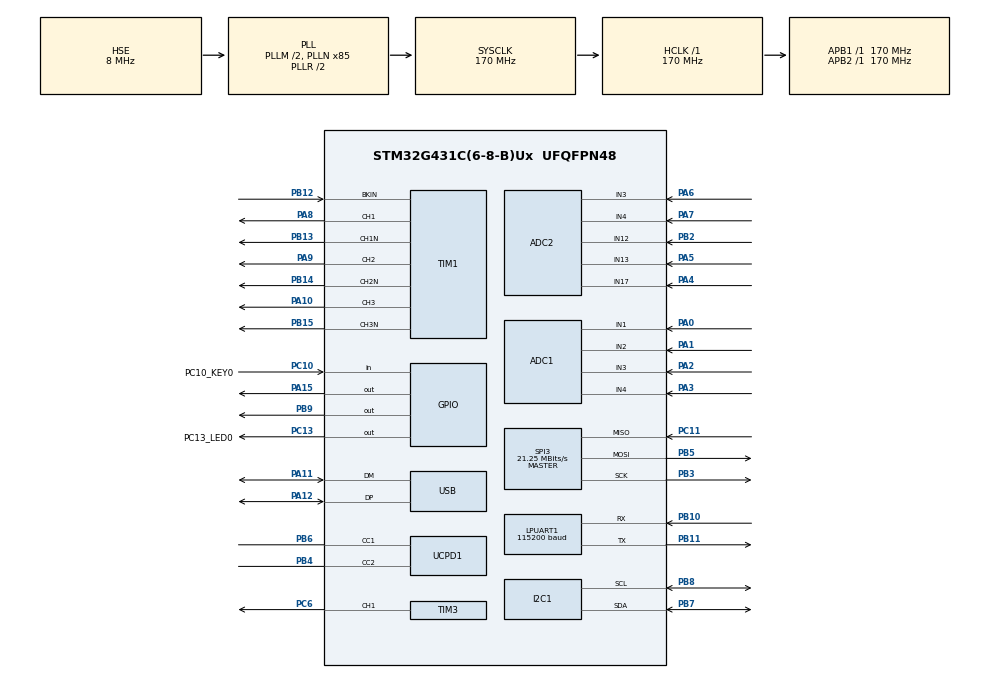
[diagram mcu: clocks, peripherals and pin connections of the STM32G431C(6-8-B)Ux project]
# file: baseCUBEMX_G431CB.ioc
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ADC1.Channel-0\#ChannelRegularConversion=ADC_CHANNEL_1
ADC1.NbrOfConversionFlag=1
ADC1.OffsetNumber-0\#ChannelRegularConversion=ADC_OFFSET_NONE
ADC1.Rank-0\#ChannelRegularConversion=1
ADC1.SamplingTime-0\#ChannelRegularConversion=ADC_SAMPLETIME_2CYCLES_5
ADC1.SingleDiff-0\#ChannelRegularConversion=ADC_DIFFERENTIAL_ENDED
ADC1.master=1
ADC2.Channel-0\#ChannelRegularConversion=ADC_CHANNEL_17
ADC2.NbrOfConversionFlag=1
ADC2.OffsetNumber-0\#ChannelRegularConversion=ADC_OFFSET_NONE
ADC2.Rank-0\#ChannelRegularConversion=1
ADC2.SamplingTime-0\#ChannelRegularConversion=ADC_SAMPLETIME_2CYCLES_5
I2C1.Timing=0x30A0A7FB
LPUART1.BaudRate=115200
Mcu.Family=STM32G4
Mcu.Name=STM32G431C(6-8-B)Ux
Mcu.Package=UFQFPN48
NVIC.PriorityGroup=NVIC_PRIORITYGROUP_4
NVIC.USB_LP_IRQn=true\:0\:0\:false\:false\:true\:false\:true\:true
PA0.Signal=SharedAnalog_PA0
PA1.Signal=SharedAnalog_PA1
PA10.Signal=S_TIM1_CH3
PA11.Mode=Device
PA11.Signal=USB_DM
PA12.Mode=Device
PA12.Signal=USB_DP
PA13.Mode=Serial_Wire
PA13.Signal=SYS_JTMS-SWDIO
PA14.Mode=Serial_Wire
PA14.Signal=SYS_JTCK-SWCLK
PA15.Signal=GPIO_Output
PA2.Mode=IN3-Differential
PA2.Signal=ADC1_IN3
PA3.Mode=IN3-Differential
PA3.Signal=ADC1_IN4
PA4.Mode=IN17-Single-Ended
PA4.Signal=ADC2_IN17
PA5.Mode=IN12-Differential
PA5.Signal=ADC2_IN13
PA6.Mode=IN3-Differential
PA6.Signal=ADC2_IN3
PA7.Mode=IN3-Differential
PA7.Signal=ADC2_IN4
PA8.Signal=S_TIM1_CH1
PA9.Signal=S_TIM1_CH2
PB0.Signal=ADC1_IN15
PB1.Signal=ADC1_IN12
PB10.Mode=Asynchronous
PB10.Signal=LPUART1_RX
PB11.Mode=Asynchronous
PB11.Signal=LPUART1_TX
PB12.Mode=Activate-Break-Input
PB12.Signal=TIM1_BKIN
PB13.Mode=PWM Generation1 CH1 CH1N
PB13.Signal=TIM1_CH1N
PB14.Mode=PWM Generation2 CH2 CH2N
PB14.Signal=TIM1_CH2N
PB15.Mode=PWM Generation3 CH3 CH3N
PB15.Signal=TIM1_CH3N
PB2.Mode=IN12-Differential
PB2.Signal=ADC2_IN12
PB3.Mode=Full_Duplex_Master
PB3.Signal=SPI3_SCK
PB4.Mode=Dual_Role_AllSignals
PB4.Signal=UCPD1_CC2
PB5.Mode=Full_Duplex_Master
PB5.Signal=SPI3_MOSI
PB6.Mode=Dual_Role_AllSignals
PB6.Signal=UCPD1_CC1
PB7.Mode=I2C
PB7.Signal=I2C1_SDA
PB8-BOOT0.Mode=I2C
PB8-BOOT0.Signal=I2C1_SCL
PB9.Signal=GPIO_Output
PC10.GPIO_Label=PC10_KEY0
PC10.GPIO_PuPd=GPIO_PULLUP
PC10.Signal=GPIO_Input
PC11.Mode=Full_Duplex_Master
PC11.Signal=SPI3_MISO
PC13.GPIO_Label=PC13_LED0
PC13.GPIO_PuPd=GPIO_NOPULL
PC13.Signal=GPIO_Output
PC14-OSC32_IN.Mode=LSE-External-Oscillator
PC14-OSC32_IN.Signal=RCC_OSC32_IN
PC15-OSC32_OUT.Mode=LSE-External-Oscillator
PC15-OSC32_OUT.Signal=RCC_OSC32_OUT
PC4.Signal=ADC2_IN5
PC6.Signal=S_TIM3_CH1
PF0-OSC_IN.Mode=HSE-External-Oscillator
PF0-OSC_IN.Signal=RCC_OSC_IN
PF1-OSC_OUT.Mode=HSE-External-Oscillator
PF1-OSC_OUT.Signal=RCC_OSC_OUT
ProjectManager.HeapSize=0x200
ProjectManager.StackSize=0x400
ProjectManager.TargetToolchain=STM32CubeIDE
RCC.ADC12Freq_Value=170000000
RCC.AHBFreq_Value=170000000
RCC.APB1Freq_Value=170000000
RCC.APB1TimFreq_Value=170000000
RCC.APB2Freq_Value=170000000
RCC.APB2TimFreq_Value=170000000
RCC.CK48CLockSelection=RCC_USBCLKSOURCE_HSI48
RCC.CortexFreq_Value=170000000
RCC.EXTERNAL_CLOCK_VALUE=12288000
RCC.EnbaleCSS=true
RCC.HCLKFreq_Value=170000000
RCC.HSE_VALUE=8000000
RCC.HSI48_VALUE=48000000
RCC.HSI_VALUE=16000000
RCC.PLLM=RCC_PLLM_DIV2
RCC.PLLN=85
RCC.PLLSourceVirtual=RCC_PLLSOURCE_HSE
RCC.SYSCLKFreq_VALUE=170000000
RCC.SYSCLKSource=RCC_SYSCLKSOURCE_PLLCLK
RCC.USBFreq_Value=48000000
RCC.VCOOutputFreq_Value=340000000
SH.S_TIM1_CH1.0=TIM1_CH1,PWM Generation1 CH1 CH1N
SH.S_TIM1_CH2.0=TIM1_CH2,PWM Generation2 CH2 CH2N
SH.S_TIM1_CH3.0=TIM1_CH3,PWM Generation3 CH3 CH3N
SH.S_TIM3_CH1.0=TIM3_CH1,PWM Generation1 CH1
SH.SharedAnalog_PA0.0=ADC2_IN1
SH.SharedAnalog_PA0.1=ADC1_IN1,IN1-Differential
SH.SharedAnalog_PA1.0=ADC2_IN2
SH.SharedAnalog_PA1.1=ADC1_IN2,IN1-Differential
SPI3.BaudRatePrescaler=SPI_BAUDRATEPRESCALER_8
SPI3.CalculateBaudRate=21.25 MBits/s
SPI3.Direction=SPI_DIRECTION_2LINES
SPI3.Mode=SPI_MODE_MASTER
SPI3.VirtualType=VM_MASTER
TIM1.Channel-PWM\ Generation1\ CH1\ CH1N=TIM_CHANNEL_1
TIM1.Channel-PWM\ Generation2\ CH2\ CH2N=TIM_CHANNEL_2
TIM1.Channel-PWM\ Generation3\ CH3\ CH3N=TIM_CHANNEL_3
TIM3.Channel-PWM\ Generation1\ CH1=TIM_CHANNEL_1
USB_DEVICE.CLASS_NAME_FS=CDC
USB_DEVICE.VirtualMode=Cdc
USB_DEVICE.VirtualModeFS=Cdc_FS
VP_RTC_VS_RTC_Activate.Mode=RTC_Enabled
VP_SYS_VS_DBSignals.Mode=DisableDeadBatterySignals
VP_USB_DEVICE_VS_USB_DEVICE_CDC_FS.Mode=CDC_FS
board=custom

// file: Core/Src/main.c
/* USER CODE BEGIN Header */
/**
  ******************************************************************************
  * @file           : main.c
  * @brief          : Main program body
  ******************************************************************************
  * @attention
  *
  * Copyright (c) 2023 STMicroelectronics.
  * All rights reserved.
  *
  * This software is licensed under terms that can be found in the LICENSE file
  * in the root directory of this software component.
  * If no LICENSE file comes with this software, it is provided AS-IS.
  *
  ******************************************************************************
  */
/* USER CODE END Header */
#include "main.h"
#include "usb_device.h"

/* USER CODE BEGIN PTD */
#define		DEF_MAX_MSG_LENGTH		128
/* USER CODE END PTD */

I2C_HandleTypeDef hi2c1;

RTC_HandleTypeDef hrtc;

void SystemClock_Config(void);
static void MX_GPIO_Init(void);
static void MX_I2C1_Init(void);
static void MX_UCPD1_Init(void);
static void MX_ADC1_Init(void);
static void MX_ADC2_Init(void);
static void MX_LPUART1_UART_Init(void);
static void MX_RTC_Init(void);
static void MX_SPI3_Init(void);
static void MX_TIM1_Init(void);
static void MX_TIM3_Init(void);
/* USER CODE BEGIN PFP */
static void bootinfo(void);
/* USER CODE END PFP */

int main(void)
{

  /* USER CODE BEGIN 1 */
	static uint32_t	ui32_BlinkTick = 0;
	static uint32_t	ui32_SelectBlinkTick = 500;	// Startup Tick
	static uint32_t	ui32_KeyPressTick = 0;	// KeyPress Tick
	static uint32_t	ui32_USBPrintfTick = 0;
	char HiMsg[DEF_MAX_MSG_LENGTH] = "SMT32G431CB Schwartz pill USB DEMO    \r\n";
  /* USER CODE END 1 */

  /* MCU Configuration--------------------------------------------------------*/

  /* Reset of all peripherals, Initializes the Flash interface and the Systick. */
  HAL_Init();

  /* Configure the system clock */
  SystemClock_Config();

  /* Initialize all configured peripherals */
  MX_GPIO_Init();
  MX_I2C1_Init();
  MX_UCPD1_Init();
  MX_ADC1_Init();
  MX_ADC2_Init();
  MX_LPUART1_UART_Init();
  MX_RTC_Init();
  MX_SPI3_Init();
  MX_TIM1_Init();
  MX_TIM3_Init();
  MX_USB_Device_Init();
  /* USER CODE BEGIN 2 */
  // Forca a reenumeracao do USB
  LL_GPIO_SetOutputPin(PC13_LED0_GPIO_Port, PC13_LED0_Pin);
  LL_GPIO_SetOutputPin(GPIOA, LL_GPIO_PIN_15);
  HAL_Delay(500);
  LL_GPIO_ResetOutputPin(GPIOA, LL_GPIO_PIN_15);
  LL_GPIO_ResetOutputPin(PC13_LED0_GPIO_Port, PC13_LED0_Pin);
  HAL_Delay(5000);
  //******************************
  bootinfo();
  /* USER CODE END 2 */

  /* Infinite loop */
  /* USER CODE BEGIN WHILE */
  while (1)
  {
	  uint32_t u32_ActualTick = HAL_GetTick();
	  if (u32_ActualTick-ui32_BlinkTick > ui32_SelectBlinkTick)
	  {
		  ui32_BlinkTick = u32_ActualTick;
		  LL_GPIO_TogglePin(PC13_LED0_GPIO_Port, PC13_LED0_Pin);
	  }

	  if (!LL_GPIO_IsInputPinSet(PC10_KEY0_GPIO_Port, PC10_KEY0_Pin))
	  {
		  if (u32_ActualTick - ui32_KeyPressTick > 10){
			// Valid KeyPress
			  ui32_KeyPressTick = u32_ActualTick;
			  ui32_SelectBlinkTick++;
			  if (ui32_SelectBlinkTick > 1000)
				  ui32_SelectBlinkTick = 50;
		  }
	  } else
	  {
		  ui32_KeyPressTick = u32_ActualTick;
	  }

	  if (u32_ActualTick-ui32_USBPrintfTick > 200)
	  {
		  ui32_USBPrintfTick = u32_ActualTick;
		  snprintf(HiMsg, DEF_MAX_MSG_LENGTH-1, "Actual Tick: %lu, Blink Tick: %lu\r\n",
				  u32_ActualTick, ui32_SelectBlinkTick);
	  	  CDC_Transmit_FS(HiMsg, strlen(HiMsg));
	  }

    /* USER CODE END WHILE */

  }
}

void SystemClock_Config(void)
{
  RCC_OscInitTypeDef RCC_OscInitStruct = {0};
  RCC_ClkInitTypeDef RCC_ClkInitStruct = {0};

  /** Configure the main internal regulator output voltage
  */
  HAL_PWREx_ControlVoltageScaling(PWR_REGULATOR_VOLTAGE_SCALE1_BOOST);

  /** Initializes the RCC Oscillators according to the specified parameters
  * in the RCC_OscInitTypeDef structure.
  */
  RCC_OscInitStruct.OscillatorType = RCC_OSCILLATORTYPE_HSI|RCC_OSCILLATORTYPE_HSI48
                              |RCC_OSCILLATORTYPE_LSI|RCC_OSCILLATORTYPE_HSE;
  RCC_OscInitStruct.HSEState = RCC_HSE_ON;
  RCC_OscInitStruct.HSIState = RCC_HSI_ON;
  RCC_OscInitStruct.HSICalibrationValue = RCC_HSICALIBRATION_DEFAULT;
  RCC_OscInitStruct.LSIState = RCC_LSI_ON;
  RCC_OscInitStruct.HSI48State = RCC_HSI48_ON;
  RCC_OscInitStruct.PLL.PLLState = RCC_PLL_ON;
  RCC_OscInitStruct.PLL.PLLSource = RCC_PLLSOURCE_HSE;
  RCC_OscInitStruct.PLL.PLLM = RCC_PLLM_DIV2;
  RCC_OscInitStruct.PLL.PLLN = 85;
  RCC_OscInitStruct.PLL.PLLP = RCC_PLLP_DIV2;
  RCC_OscInitStruct.PLL.PLLQ = RCC_PLLQ_DIV2;
  RCC_OscInitStruct.PLL.PLLR = RCC_PLLR_DIV2;
  if (HAL_RCC_OscConfig(&RCC_OscInitStruct) != HAL_OK)
  {
    Error_Handler();
  }

  /** Initializes the CPU, AHB and APB buses clocks
  */
  RCC_ClkInitStruct.ClockType = RCC_CLOCKTYPE_HCLK|RCC_CLOCKTYPE_SYSCLK
                              |RCC_CLOCKTYPE_PCLK1|RCC_CLOCKTYPE_PCLK2;
  RCC_ClkInitStruct.SYSCLKSource = RCC_SYSCLKSOURCE_PLLCLK;
  RCC_ClkInitStruct.AHBCLKDivider = RCC_SYSCLK_DIV1;
  RCC_ClkInitStruct.APB1CLKDivider = RCC_HCLK_DIV1;
  RCC_ClkInitStruct.APB2CLKDivider = RCC_HCLK_DIV1;

  if (HAL_RCC_ClockConfig(&RCC_ClkInitStruct, FLASH_LATENCY_4) != HAL_OK)
  {
    Error_Handler();
  }

  /** Enables the Clock Security System
  */
  HAL_RCC_EnableCSS();
}

static void MX_ADC1_Init(void)
{

  LL_ADC_InitTypeDef ADC_InitStruct = {0};
  LL_ADC_REG_InitTypeDef ADC_REG_InitStruct = {0};
  LL_ADC_CommonInitTypeDef ADC_CommonInitStruct = {0};

  LL_GPIO_InitTypeDef GPIO_InitStruct = {0};
  RCC_PeriphCLKInitTypeDef PeriphClkInit = {0};

  /** Initializes the peripherals clocks
  */
  PeriphClkInit.PeriphClockSelection = RCC_PERIPHCLK_ADC12;
  PeriphClkInit.Adc12ClockSelection = RCC_ADC12CLKSOURCE_SYSCLK;
  if (HAL_RCCEx_PeriphCLKConfig(&PeriphClkInit) != HAL_OK)
  {
    Error_Handler();
  }

  /* Peripheral clock enable */
  LL_AHB2_GRP1_EnableClock(LL_AHB2_GRP1_PERIPH_ADC12);

  LL_AHB2_GRP1_EnableClock(LL_AHB2_GRP1_PERIPH_GPIOA);
  LL_AHB2_GRP1_EnableClock(LL_AHB2_GRP1_PERIPH_GPIOB);
  /**ADC1 GPIO Configuration
  PA0   ------> ADC1_IN1
  PA1   ------> ADC1_IN2
  PA2   ------> ADC1_IN3
  PA3   ------> ADC1_IN4
  PB0   ------> ADC1_IN15
  PB1   ------> ADC1_IN12
  */
  GPIO_InitStruct.Pin = LL_GPIO_PIN_0;
  GPIO_InitStruct.Mode = LL_GPIO_MODE_ANALOG;
  GPIO_InitStruct.Pull = LL_GPIO_PULL_NO;
  LL_GPIO_Init(GPIOA, &GPIO_InitStruct);

  GPIO_InitStruct.Pin = LL_GPIO_PIN_1;
  GPIO_InitStruct.Mode = LL_GPIO_MODE_ANALOG;
  GPIO_InitStruct.Pull = LL_GPIO_PULL_NO;
  LL_GPIO_Init(GPIOA, &GPIO_InitStruct);

  GPIO_InitStruct.Pin = LL_GPIO_PIN_2;
  GPIO_InitStruct.Mode = LL_GPIO_MODE_ANALOG;
  GPIO_InitStruct.Pull = LL_GPIO_PULL_NO;
  LL_GPIO_Init(GPIOA, &GPIO_InitStruct);

  GPIO_InitStruct.Pin = LL_GPIO_PIN_3;
  GPIO_InitStruct.Mode = LL_GPIO_MODE_ANALOG;
  GPIO_InitStruct.Pull = LL_GPIO_PULL_NO;
  LL_GPIO_Init(GPIOA, &GPIO_InitStruct);

  GPIO_InitStruct.Pin = LL_GPIO_PIN_0;
  GPIO_InitStruct.Mode = LL_GPIO_MODE_ANALOG;
  GPIO_InitStruct.Pull = LL_GPIO_PULL_NO;
  LL_GPIO_Init(GPIOB, &GPIO_InitStruct);

  GPIO_InitStruct.Pin = LL_GPIO_PIN_1;
  GPIO_InitStruct.Mode = LL_GPIO_MODE_ANALOG;
  GPIO_InitStruct.Pull = LL_GPIO_PULL_NO;
  LL_GPIO_Init(GPIOB, &GPIO_InitStruct);

  /** Common config
  */
  ADC_InitStruct.Resolution = LL_ADC_RESOLUTION_12B;
  ADC_InitStruct.DataAlignment = LL_ADC_DATA_ALIGN_RIGHT;
  ADC_InitStruct.LowPowerMode = LL_ADC_LP_MODE_NONE;
  LL_ADC_Init(ADC1, &ADC_InitStruct);
  ADC_REG_InitStruct.TriggerSource = LL_ADC_REG_TRIG_SOFTWARE;
  ADC_REG_InitStruct.SequencerLength = LL_ADC_REG_SEQ_SCAN_DISABLE;
  ADC_REG_InitStruct.SequencerDiscont = LL_ADC_REG_SEQ_DISCONT_DISABLE;
  ADC_REG_InitStruct.ContinuousMode = LL_ADC_REG_CONV_SINGLE;
  ADC_REG_InitStruct.DMATransfer = LL_ADC_REG_DMA_TRANSFER_NONE;
  ADC_REG_InitStruct.Overrun = LL_ADC_REG_OVR_DATA_PRESERVED;
  LL_ADC_REG_Init(ADC1, &ADC_REG_InitStruct);
  LL_ADC_SetGainCompensation(ADC1, 0);
  LL_ADC_SetOverSamplingScope(ADC1, LL_ADC_OVS_DISABLE);
  ADC_CommonInitStruct.CommonClock = LL_ADC_CLOCK_SYNC_PCLK_DIV4;
  ADC_CommonInitStruct.Multimode = LL_ADC_MULTI_INDEPENDENT;
  LL_ADC_CommonInit(__LL_ADC_COMMON_INSTANCE(ADC1), &ADC_CommonInitStruct);

  /* Disable ADC deep power down (enabled by default after reset state) */
  LL_ADC_DisableDeepPowerDown(ADC1);
  /* Enable ADC internal voltage regulator */
  LL_ADC_EnableInternalRegulator(ADC1);
  /* Delay for ADC internal voltage regulator stabilization. */
  /* Compute number of CPU cycles to wait for, from delay in us. */
  /* Note: Variable divided by 2 to compensate partially */
  /* CPU processing cycles (depends on compilation optimization). */
  /* Note: If system core clock frequency is below 200kHz, wait time */
  /* is only a few CPU processing cycles. */
  uint32_t wait_loop_index;
  wait_loop_index = ((LL_ADC_DELAY_INTERNAL_REGUL_STAB_US * (SystemCoreClock / (100000 * 2))) / 10);
  while(wait_loop_index != 0)
  {
    wait_loop_index--;
  }

  /** Configure Regular Channel
  */
  LL_ADC_REG_SetSequencerRanks(ADC1, LL_ADC_REG_RANK_1, LL_ADC_CHANNEL_1);
  LL_ADC_SetChannelSamplingTime(ADC1, LL_ADC_CHANNEL_1, LL_ADC_SAMPLINGTIME_2CYCLES_5);
  LL_ADC_SetChannelSingleDiff(ADC1, LL_ADC_CHANNEL_1, LL_ADC_DIFFERENTIAL_ENDED);

}

static void MX_ADC2_Init(void)
{

  LL_ADC_InitTypeDef ADC_InitStruct = {0};
  LL_ADC_REG_InitTypeDef ADC_REG_InitStruct = {0};

  LL_GPIO_InitTypeDef GPIO_InitStruct = {0};
  RCC_PeriphCLKInitTypeDef PeriphClkInit = {0};

  /** Initializes the peripherals clocks
  */
  PeriphClkInit.PeriphClockSelection = RCC_PERIPHCLK_ADC12;
  PeriphClkInit.Adc12ClockSelection = RCC_ADC12CLKSOURCE_SYSCLK;
  if (HAL_RCCEx_PeriphCLKConfig(&PeriphClkInit) != HAL_OK)
  {
    Error_Handler();
  }

  /* Peripheral clock enable */
  LL_AHB2_GRP1_EnableClock(LL_AHB2_GRP1_PERIPH_ADC12);

  LL_AHB2_GRP1_EnableClock(LL_AHB2_GRP1_PERIPH_GPIOA);
  LL_AHB2_GRP1_EnableClock(LL_AHB2_GRP1_PERIPH_GPIOC);
  LL_AHB2_GRP1_EnableClock(LL_AHB2_GRP1_PERIPH_GPIOB);
  /**ADC2 GPIO Configuration
  PA0   ------> ADC2_IN1
  PA1   ------> ADC2_IN2
  PA4   ------> ADC2_IN17
  PA5   ------> ADC2_IN13
  PA6   ------> ADC2_IN3
  PA7   ------> ADC2_IN4
  PC4   ------> ADC2_IN5
  PB2   ------> ADC2_IN12
  */
  GPIO_InitStruct.Pin = LL_GPIO_PIN_0;
  GPIO_InitStruct.Mode = LL_GPIO_MODE_ANALOG;
  GPIO_InitStruct.Pull = LL_GPIO_PULL_NO;
  LL_GPIO_Init(GPIOA, &GPIO_InitStruct);

  GPIO_InitStruct.Pin = LL_GPIO_PIN_1;
  GPIO_InitStruct.Mode = LL_GPIO_MODE_ANALOG;
  GPIO_InitStruct.Pull = LL_GPIO_PULL_NO;
  LL_GPIO_Init(GPIOA, &GPIO_InitStruct);

  GPIO_InitStruct.Pin = LL_GPIO_PIN_4;
  GPIO_InitStruct.Mode = LL_GPIO_MODE_ANALOG;
  GPIO_InitStruct.Pull = LL_GPIO_PULL_NO;
  LL_GPIO_Init(GPIOA, &GPIO_InitStruct);

  GPIO_InitStruct.Pin = LL_GPIO_PIN_5;
  GPIO_InitStruct.Mode = LL_GPIO_MODE_ANALOG;
  GPIO_InitStruct.Pull = LL_GPIO_PULL_NO;
  LL_GPIO_Init(GPIOA, &GPIO_InitStruct);

  GPIO_InitStruct.Pin = LL_GPIO_PIN_6;
  GPIO_InitStruct.Mode = LL_GPIO_MODE_ANALOG;
  GPIO_InitStruct.Pull = LL_GPIO_PULL_NO;
  LL_GPIO_Init(GPIOA, &GPIO_InitStruct);

  GPIO_InitStruct.Pin = LL_GPIO_PIN_7;
  GPIO_InitStruct.Mode = LL_GPIO_MODE_ANALOG;
  GPIO_InitStruct.Pull = LL_GPIO_PULL_NO;
  LL_GPIO_Init(GPIOA, &GPIO_InitStruct);

  GPIO_InitStruct.Pin = LL_GPIO_PIN_4;
  GPIO_InitStruct.Mode = LL_GPIO_MODE_ANALOG;
  GPIO_InitStruct.Pull = LL_GPIO_PULL_NO;
  LL_GPIO_Init(GPIOC, &GPIO_InitStruct);

  GPIO_InitStruct.Pin = LL_GPIO_PIN_2;
  GPIO_InitStruct.Mode = LL_GPIO_MODE_ANALOG;
  GPIO_InitStruct.Pull = LL_GPIO_PULL_NO;
  LL_GPIO_Init(GPIOB, &GPIO_InitStruct);

  /** Common config
  */
  ADC_InitStruct.Resolution = LL_ADC_RESOLUTION_12B;
  ADC_InitStruct.DataAlignment = LL_ADC_DATA_ALIGN_RIGHT;
  ADC_InitStruct.LowPowerMode = LL_ADC_LP_MODE_NONE;
  LL_ADC_Init(ADC2, &ADC_InitStruct);
  ADC_REG_InitStruct.TriggerSource = LL_ADC_REG_TRIG_SOFTWARE;
  ADC_REG_InitStruct.SequencerLength = LL_ADC_REG_SEQ_SCAN_DISABLE;
  ADC_REG_InitStruct.SequencerDiscont = LL_ADC_REG_SEQ_DISCONT_DISABLE;
  ADC_REG_InitStruct.ContinuousMode = LL_ADC_REG_CONV_SINGLE;
  ADC_REG_InitStruct.DMATransfer = LL_ADC_REG_DMA_TRANSFER_NONE;
  ADC_REG_InitStruct.Overrun = LL_ADC_REG_OVR_DATA_PRESERVED;
  LL_ADC_REG_Init(ADC2, &ADC_REG_InitStruct);
  LL_ADC_SetGainCompensation(ADC2, 0);
  LL_ADC_SetOverSamplingScope(ADC2, LL_ADC_OVS_DISABLE);

  /* Disable ADC deep power down (enabled by default after reset state) */
  LL_ADC_DisableDeepPowerDown(ADC2);
  /* Enable ADC internal voltage regulator */
  LL_ADC_EnableInternalRegulator(ADC2);
  /* Delay for ADC internal voltage regulator stabilization. */
  /* Compute number of CPU cycles to wait for, from delay in us. */
  /* Note: Variable divided by 2 to compensate partially */
  /* CPU processing cycles (depends on compilation optimization). */
  /* Note: If system core clock frequency is below 200kHz, wait time */
  /* is only a few CPU processing cycles. */
  uint32_t wait_loop_index;
  wait_loop_index = ((LL_ADC_DELAY_INTERNAL_REGUL_STAB_US * (SystemCoreClock / (100000 * 2))) / 10);
  while(wait_loop_index != 0)
  {
    wait_loop_index--;
  }

  /** Configure Regular Channel
  */
  LL_ADC_REG_SetSequencerRanks(ADC2, LL_ADC_REG_RANK_1, LL_ADC_CHANNEL_17);
  LL_ADC_SetChannelSamplingTime(ADC2, LL_ADC_CHANNEL_17, LL_ADC_SAMPLINGTIME_2CYCLES_5);
  LL_ADC_SetChannelSingleDiff(ADC2, LL_ADC_CHANNEL_17, LL_ADC_SINGLE_ENDED);

}

static void MX_I2C1_Init(void)
{

  hi2c1.Instance = I2C1;
  hi2c1.Init.Timing = 0x30A0A7FB;
  hi2c1.Init.OwnAddress1 = 0;
  hi2c1.Init.AddressingMode = I2C_ADDRESSINGMODE_7BIT;
  hi2c1.Init.DualAddressMode = I2C_DUALADDRESS_DISABLE;
  hi2c1.Init.OwnAddress2 = 0;
  hi2c1.Init.OwnAddress2Masks = I2C_OA2_NOMASK;
  hi2c1.Init.GeneralCallMode = I2C_GENERALCALL_DISABLE;
  hi2c1.Init.NoStretchMode = I2C_NOSTRETCH_DISABLE;
  if (HAL_I2C_Init(&hi2c1) != HAL_OK)
  {
    Error_Handler();
  }

  /** Configure Analogue filter
  */
  if (HAL_I2CEx_ConfigAnalogFilter(&hi2c1, I2C_ANALOGFILTER_ENABLE) != HAL_OK)
  {
    Error_Handler();
  }

  /** Configure Digital filter
  */
  if (HAL_I2CEx_ConfigDigitalFilter(&hi2c1, 0) != HAL_OK)
  {
    Error_Handler();
  }

}

static void MX_LPUART1_UART_Init(void)
{

  LL_LPUART_InitTypeDef LPUART_InitStruct = {0};

  LL_GPIO_InitTypeDef GPIO_InitStruct = {0};
  RCC_PeriphCLKInitTypeDef PeriphClkInit = {0};

  /** Initializes the peripherals clocks
  */
  PeriphClkInit.PeriphClockSelection = RCC_PERIPHCLK_LPUART1;
  PeriphClkInit.Lpuart1ClockSelection = RCC_LPUART1CLKSOURCE_PCLK1;
  if (HAL_RCCEx_PeriphCLKConfig(&PeriphClkInit) != HAL_OK)
  {
    Error_Handler();
  }

  /* Peripheral clock enable */
  LL_APB1_GRP2_EnableClock(LL_APB1_GRP2_PERIPH_LPUART1);

  LL_AHB2_GRP1_EnableClock(LL_AHB2_GRP1_PERIPH_GPIOB);
  /**LPUART1 GPIO Configuration
  PB10   ------> LPUART1_RX
  PB11   ------> LPUART1_TX
  */
  GPIO_InitStruct.Pin = LL_GPIO_PIN_10;
  GPIO_InitStruct.Mode = LL_GPIO_MODE_ALTERNATE;
  GPIO_InitStruct.Speed = LL_GPIO_SPEED_FREQ_LOW;
  GPIO_InitStruct.OutputType = LL_GPIO_OUTPUT_PUSHPULL;
  GPIO_InitStruct.Pull = LL_GPIO_PULL_NO;
  GPIO_InitStruct.Alternate = LL_GPIO_AF_8;
  LL_GPIO_Init(GPIOB, &GPIO_InitStruct);

  GPIO_InitStruct.Pin = LL_GPIO_PIN_11;
  GPIO_InitStruct.Mode = LL_GPIO_MODE_ALTERNATE;
  GPIO_InitStruct.Speed = LL_GPIO_SPEED_FREQ_LOW;
  GPIO_InitStruct.OutputType = LL_GPIO_OUTPUT_PUSHPULL;
  GPIO_InitStruct.Pull = LL_GPIO_PULL_NO;
  GPIO_InitStruct.Alternate = LL_GPIO_AF_8;
  LL_GPIO_Init(GPIOB, &GPIO_InitStruct);

  LPUART_InitStruct.PrescalerValue = LL_LPUART_PRESCALER_DIV1;
  LPUART_InitStruct.BaudRate = 115200;
  LPUART_InitStruct.DataWidth = LL_LPUART_DATAWIDTH_8B;
  LPUART_InitStruct.StopBits = LL_LPUART_STOPBITS_1;
  LPUART_InitStruct.Parity = LL_LPUART_PARITY_NONE;
  LPUART_InitStruct.TransferDirection = LL_LPUART_DIRECTION_TX_RX;
  LPUART_InitStruct.HardwareFlowControl = LL_LPUART_HWCONTROL_NONE;
  LL_LPUART_Init(LPUART1, &LPUART_InitStruct);
  LL_LPUART_SetTXFIFOThreshold(LPUART1, LL_LPUART_FIFOTHRESHOLD_1_8);
  LL_LPUART_SetRXFIFOThreshold(LPUART1, LL_LPUART_FIFOTHRESHOLD_1_8);
  LL_LPUART_DisableFIFO(LPUART1);

  LL_LPUART_Enable(LPUART1);

  /* Polling LPUART1 initialisation */
  while((!(LL_LPUART_IsActiveFlag_TEACK(LPUART1))) || (!(LL_LPUART_IsActiveFlag_REACK(LPUART1))))
  {
  }

}

static void MX_RTC_Init(void)
{

  /** Initialize RTC Only
  */
  hrtc.Instance = RTC;
  hrtc.Init.HourFormat = RTC_HOURFORMAT_24;
  hrtc.Init.AsynchPrediv = 127;
  hrtc.Init.SynchPrediv = 255;
  hrtc.Init.OutPut = RTC_OUTPUT_DISABLE;
  hrtc.Init.OutPutRemap = RTC_OUTPUT_REMAP_NONE;
  hrtc.Init.OutPutPolarity = RTC_OUTPUT_POLARITY_HIGH;
  hrtc.Init.OutPutType = RTC_OUTPUT_TYPE_OPENDRAIN;
  hrtc.Init.OutPutPullUp = RTC_OUTPUT_PULLUP_NONE;
  if (HAL_RTC_Init(&hrtc) != HAL_OK)
  {
    Error_Handler();
  }

}

static void MX_SPI3_Init(void)
{

  LL_SPI_InitTypeDef SPI_InitStruct = {0};

  LL_GPIO_InitTypeDef GPIO_InitStruct = {0};

  /* Peripheral clock enable */
  LL_APB1_GRP1_EnableClock(LL_APB1_GRP1_PERIPH_SPI3);

  LL_AHB2_GRP1_EnableClock(LL_AHB2_GRP1_PERIPH_GPIOC);
  LL_AHB2_GRP1_EnableClock(LL_AHB2_GRP1_PERIPH_GPIOB);
  /**SPI3 GPIO Configuration
  PC11   ------> SPI3_MISO
  PB3   ------> SPI3_SCK
  PB5   ------> SPI3_MOSI
  */
  GPIO_InitStruct.Pin = LL_GPIO_PIN_11;
  GPIO_InitStruct.Mode = LL_GPIO_MODE_ALTERNATE;
  GPIO_InitStruct.Speed = LL_GPIO_SPEED_FREQ_LOW;
  GPIO_InitStruct.OutputType = LL_GPIO_OUTPUT_PUSHPULL;
  GPIO_InitStruct.Pull = LL_GPIO_PULL_NO;
  GPIO_InitStruct.Alternate = LL_GPIO_AF_6;
  LL_GPIO_Init(GPIOC, &GPIO_InitStruct);

  GPIO_InitStruct.Pin = LL_GPIO_PIN_3;
  GPIO_InitStruct.Mode = LL_GPIO_MODE_ALTERNATE;
  GPIO_InitStruct.Speed = LL_GPIO_SPEED_FREQ_LOW;
  GPIO_InitStruct.OutputType = LL_GPIO_OUTPUT_PUSHPULL;
  GPIO_InitStruct.Pull = LL_GPIO_PULL_NO;
  GPIO_InitStruct.Alternate = LL_GPIO_AF_6;
  LL_GPIO_Init(GPIOB, &GPIO_InitStruct);

  GPIO_InitStruct.Pin = LL_GPIO_PIN_5;
  GPIO_InitStruct.Mode = LL_GPIO_MODE_ALTERNATE;
  GPIO_InitStruct.Speed = LL_GPIO_SPEED_FREQ_LOW;
  GPIO_InitStruct.OutputType = LL_GPIO_OUTPUT_PUSHPULL;
  GPIO_InitStruct.Pull = LL_GPIO_PULL_NO;
  GPIO_InitStruct.Alternate = LL_GPIO_AF_6;
  LL_GPIO_Init(GPIOB, &GPIO_InitStruct);

  /* SPI3 parameter configuration*/
  SPI_InitStruct.TransferDirection = LL_SPI_FULL_DUPLEX;
  SPI_InitStruct.Mode = LL_SPI_MODE_MASTER;
  SPI_InitStruct.DataWidth = LL_SPI_DATAWIDTH_4BIT;
  SPI_InitStruct.ClockPolarity = LL_SPI_POLARITY_LOW;
  SPI_InitStruct.ClockPhase = LL_SPI_PHASE_1EDGE;
  SPI_InitStruct.NSS = LL_SPI_NSS_SOFT;
  SPI_InitStruct.BaudRate = LL_SPI_BAUDRATEPRESCALER_DIV8;
  SPI_InitStruct.BitOrder = LL_SPI_MSB_FIRST;
  SPI_InitStruct.CRCCalculation = LL_SPI_CRCCALCULATION_DISABLE;
  SPI_InitStruct.CRCPoly = 7;
  LL_SPI_Init(SPI3, &SPI_InitStruct);
  LL_SPI_SetStandard(SPI3, LL_SPI_PROTOCOL_MOTOROLA);
  LL_SPI_EnableNSSPulseMgt(SPI3);

}

static void MX_TIM1_Init(void)
{

  LL_TIM_InitTypeDef TIM_InitStruct = {0};
  LL_TIM_OC_InitTypeDef TIM_OC_InitStruct = {0};
  LL_TIM_BDTR_InitTypeDef TIM_BDTRInitStruct = {0};

  LL_GPIO_InitTypeDef GPIO_InitStruct = {0};

  /* Peripheral clock enable */
  LL_APB2_GRP1_EnableClock(LL_APB2_GRP1_PERIPH_TIM1);

  LL_AHB2_GRP1_EnableClock(LL_AHB2_GRP1_PERIPH_GPIOB);
  /**TIM1 GPIO Configuration
  PB12   ------> TIM1_BKIN
  */
  GPIO_InitStruct.Pin = LL_GPIO_PIN_12;
  GPIO_InitStruct.Mode = LL_GPIO_MODE_ALTERNATE;
  GPIO_InitStruct.Speed = LL_GPIO_SPEED_FREQ_LOW;
  GPIO_InitStruct.OutputType = LL_GPIO_OUTPUT_OPENDRAIN;
  GPIO_InitStruct.Pull = LL_GPIO_PULL_NO;
  GPIO_InitStruct.Alternate = LL_GPIO_AF_6;
  LL_GPIO_Init(GPIOB, &GPIO_InitStruct);

  TIM_InitStruct.Prescaler = 0;
  TIM_InitStruct.CounterMode = LL_TIM_COUNTERMODE_UP;
  TIM_InitStruct.Autoreload = 65535;
  TIM_InitStruct.ClockDivision = LL_TIM_CLOCKDIVISION_DIV1;
  TIM_InitStruct.RepetitionCounter = 0;
  LL_TIM_Init(TIM1, &TIM_InitStruct);
  LL_TIM_DisableARRPreload(TIM1);
  LL_TIM_OC_EnablePreload(TIM1, LL_TIM_CHANNEL_CH1);
  TIM_OC_InitStruct.OCMode = LL_TIM_OCMODE_PWM1;
  TIM_OC_InitStruct.OCState = LL_TIM_OCSTATE_DISABLE;
  TIM_OC_InitStruct.OCNState = LL_TIM_OCSTATE_DISABLE;
  TIM_OC_InitStruct.CompareValue = 0;
  TIM_OC_InitStruct.OCPolarity = LL_TIM_OCPOLARITY_HIGH;
  TIM_OC_InitStruct.OCNPolarity = LL_TIM_OCPOLARITY_HIGH;
  TIM_OC_InitStruct.OCIdleState = LL_TIM_OCIDLESTATE_LOW;
  TIM_OC_InitStruct.OCNIdleState = LL_TIM_OCIDLESTATE_LOW;
  LL_TIM_OC_Init(TIM1, LL_TIM_CHANNEL_CH1, &TIM_OC_InitStruct);
  LL_TIM_OC_DisableFast(TIM1, LL_TIM_CHANNEL_CH1);
  LL_TIM_OC_EnablePreload(TIM1, LL_TIM_CHANNEL_CH2);
  LL_TIM_OC_Init(TIM1, LL_TIM_CHANNEL_CH2, &TIM_OC_InitStruct);
  LL_TIM_OC_DisableFast(TIM1, LL_TIM_CHANNEL_CH2);
  LL_TIM_OC_EnablePreload(TIM1, LL_TIM_CHANNEL_CH3);
  LL_TIM_OC_Init(TIM1, LL_TIM_CHANNEL_CH3, &TIM_OC_InitStruct);
  LL_TIM_OC_DisableFast(TIM1, LL_TIM_CHANNEL_CH3);
  LL_TIM_SetTriggerOutput(TIM1, LL_TIM_TRGO_RESET);
  LL_TIM_SetTriggerOutput2(TIM1, LL_TIM_TRGO2_RESET);
  LL_TIM_DisableMasterSlaveMode(TIM1);
  LL_TIM_SetBreakInputSourcePolarity(TIM1, LL_TIM_BREAK_INPUT_BKIN, LL_TIM_BKIN_SOURCE_BKIN, LL_TIM_BKIN_POLARITY_HIGH);
  TIM_BDTRInitStruct.OSSRState = LL_TIM_OSSR_DISABLE;
  TIM_BDTRInitStruct.OSSIState = LL_TIM_OSSI_DISABLE;
  TIM_BDTRInitStruct.LockLevel = LL_TIM_LOCKLEVEL_OFF;
  TIM_BDTRInitStruct.DeadTime = 0;
  TIM_BDTRInitStruct.BreakState = LL_TIM_BREAK_ENABLE;
  TIM_BDTRInitStruct.BreakPolarity = LL_TIM_BREAK_POLARITY_HIGH;
  TIM_BDTRInitStruct.BreakFilter = LL_TIM_BREAK_FILTER_FDIV1;
  TIM_BDTRInitStruct.BreakAFMode = LL_TIM_BREAK_AFMODE_INPUT;
  TIM_BDTRInitStruct.Break2State = LL_TIM_BREAK2_DISABLE;
  TIM_BDTRInitStruct.Break2Polarity = LL_TIM_BREAK2_POLARITY_HIGH;
  TIM_BDTRInitStruct.Break2Filter = LL_TIM_BREAK2_FILTER_FDIV1;
  TIM_BDTRInitStruct.Break2AFMode = LL_TIM_BREAK_AFMODE_INPUT;
  TIM_BDTRInitStruct.AutomaticOutput = LL_TIM_AUTOMATICOUTPUT_DISABLE;
  LL_TIM_BDTR_Init(TIM1, &TIM_BDTRInitStruct);
  LL_AHB2_GRP1_EnableClock(LL_AHB2_GRP1_PERIPH_GPIOB);
  LL_AHB2_GRP1_EnableClock(LL_AHB2_GRP1_PERIPH_GPIOA);
  /**TIM1 GPIO Configuration
  PB13   ------> TIM1_CH1N
  PB14   ------> TIM1_CH2N
  PB15   ------> TIM1_CH3N
  PA8   ------> TIM1_CH1
  PA9   ------> TIM1_CH2
  PA10   ------> TIM1_CH3
  */
  GPIO_InitStruct.Pin = LL_GPIO_PIN_13;
  GPIO_InitStruct.Mode = LL_GPIO_MODE_ALTERNATE;
  GPIO_InitStruct.Speed = LL_GPIO_SPEED_FREQ_LOW;
  GPIO_InitStruct.OutputType = LL_GPIO_OUTPUT_PUSHPULL;
  GPIO_InitStruct.Pull = LL_GPIO_PULL_NO;
  GPIO_InitStruct.Alternate = LL_GPIO_AF_6;
  LL_GPIO_Init(GPIOB, &GPIO_InitStruct);

  GPIO_InitStruct.Pin = LL_GPIO_PIN_14;
  GPIO_InitStruct.Mode = LL_GPIO_MODE_ALTERNATE;
  GPIO_InitStruct.Speed = LL_GPIO_SPEED_FREQ_LOW;
  GPIO_InitStruct.OutputType = LL_GPIO_OUTPUT_PUSHPULL;
  GPIO_InitStruct.Pull = LL_GPIO_PULL_NO;
  GPIO_InitStruct.Alternate = LL_GPIO_AF_6;
  LL_GPIO_Init(GPIOB, &GPIO_InitStruct);

  GPIO_InitStruct.Pin = LL_GPIO_PIN_15;
  GPIO_InitStruct.Mode = LL_GPIO_MODE_ALTERNATE;
  GPIO_InitStruct.Speed = LL_GPIO_SPEED_FREQ_LOW;
  GPIO_InitStruct.OutputType = LL_GPIO_OUTPUT_PUSHPULL;
  GPIO_InitStruct.Pull = LL_GPIO_PULL_NO;
  GPIO_InitStruct.Alternate = LL_GPIO_AF_4;
  LL_GPIO_Init(GPIOB, &GPIO_InitStruct);

  GPIO_InitStruct.Pin = LL_GPIO_PIN_8;
  GPIO_InitStruct.Mode = LL_GPIO_MODE_ALTERNATE;
  GPIO_InitStruct.Speed = LL_GPIO_SPEED_FREQ_LOW;
  GPIO_InitStruct.OutputType = LL_GPIO_OUTPUT_PUSHPULL;
  GPIO_InitStruct.Pull = LL_GPIO_PULL_NO;
  GPIO_InitStruct.Alternate = LL_GPIO_AF_6;
  LL_GPIO_Init(GPIOA, &GPIO_InitStruct);

  GPIO_InitStruct.Pin = LL_GPIO_PIN_9;
  GPIO_InitStruct.Mode = LL_GPIO_MODE_ALTERNATE;
  GPIO_InitStruct.Speed = LL_GPIO_SPEED_FREQ_LOW;
  GPIO_InitStruct.OutputType = LL_GPIO_OUTPUT_PUSHPULL;
  GPIO_InitStruct.Pull = LL_GPIO_PULL_NO;
  GPIO_InitStruct.Alternate = LL_GPIO_AF_6;
  LL_GPIO_Init(GPIOA, &GPIO_InitStruct);

  GPIO_InitStruct.Pin = LL_GPIO_PIN_10;
  GPIO_InitStruct.Mode = LL_GPIO_MODE_ALTERNATE;
  GPIO_InitStruct.Speed = LL_GPIO_SPEED_FREQ_LOW;
  GPIO_InitStruct.OutputType = LL_GPIO_OUTPUT_PUSHPULL;
  GPIO_InitStruct.Pull = LL_GPIO_PULL_NO;
  GPIO_InitStruct.Alternate = LL_GPIO_AF_6;
  LL_GPIO_Init(GPIOA, &GPIO_InitStruct);

}

static void MX_TIM3_Init(void)
{

  LL_TIM_InitTypeDef TIM_InitStruct = {0};
  LL_TIM_OC_InitTypeDef TIM_OC_InitStruct = {0};

  LL_GPIO_InitTypeDef GPIO_InitStruct = {0};

  /* Peripheral clock enable */
  LL_APB1_GRP1_EnableClock(LL_APB1_GRP1_PERIPH_TIM3);

  TIM_InitStruct.Prescaler = 0;
  TIM_InitStruct.CounterMode = LL_TIM_COUNTERMODE_UP;
  TIM_InitStruct.Autoreload = 65535;
  TIM_InitStruct.ClockDivision = LL_TIM_CLOCKDIVISION_DIV1;
  LL_TIM_Init(TIM3, &TIM_InitStruct);
  LL_TIM_DisableARRPreload(TIM3);
  LL_TIM_OC_EnablePreload(TIM3, LL_TIM_CHANNEL_CH1);
  TIM_OC_InitStruct.OCMode = LL_TIM_OCMODE_PWM1;
  TIM_OC_InitStruct.OCState = LL_TIM_OCSTATE_DISABLE;
  TIM_OC_InitStruct.OCNState = LL_TIM_OCSTATE_DISABLE;
  TIM_OC_InitStruct.CompareValue = 0;
  TIM_OC_InitStruct.OCPolarity = LL_TIM_OCPOLARITY_HIGH;
  LL_TIM_OC_Init(TIM3, LL_TIM_CHANNEL_CH1, &TIM_OC_InitStruct);
  LL_TIM_OC_DisableFast(TIM3, LL_TIM_CHANNEL_CH1);
  LL_TIM_SetTriggerOutput(TIM3, LL_TIM_TRGO_RESET);
  LL_TIM_DisableMasterSlaveMode(TIM3);
  LL_AHB2_GRP1_EnableClock(LL_AHB2_GRP1_PERIPH_GPIOC);
  /**TIM3 GPIO Configuration
  PC6   ------> TIM3_CH1
  */
  GPIO_InitStruct.Pin = LL_GPIO_PIN_6;
  GPIO_InitStruct.Mode = LL_GPIO_MODE_ALTERNATE;
  GPIO_InitStruct.Speed = LL_GPIO_SPEED_FREQ_LOW;
  GPIO_InitStruct.OutputType = LL_GPIO_OUTPUT_PUSHPULL;
  GPIO_InitStruct.Pull = LL_GPIO_PULL_NO;
  GPIO_InitStruct.Alternate = LL_GPIO_AF_2;
  LL_GPIO_Init(GPIOC, &GPIO_InitStruct);

}

static void MX_UCPD1_Init(void)
{

  LL_GPIO_InitTypeDef GPIO_InitStruct = {0};

  /* Peripheral clock enable */
  LL_APB1_GRP2_EnableClock(LL_APB1_GRP2_PERIPH_UCPD1);

  LL_AHB2_GRP1_EnableClock(LL_AHB2_GRP1_PERIPH_GPIOB);
  /**UCPD1 GPIO Configuration
  PB4   ------> UCPD1_CC2
  PB6   ------> UCPD1_CC1
  */
  GPIO_InitStruct.Pin = LL_GPIO_PIN_4;
  GPIO_InitStruct.Mode = LL_GPIO_MODE_ANALOG;
  GPIO_InitStruct.Pull = LL_GPIO_PULL_NO;
  LL_GPIO_Init(GPIOB, &GPIO_InitStruct);

  GPIO_InitStruct.Pin = LL_GPIO_PIN_6;
  GPIO_InitStruct.Mode = LL_GPIO_MODE_ANALOG;
  GPIO_InitStruct.Pull = LL_GPIO_PULL_NO;
  LL_GPIO_Init(GPIOB, &GPIO_InitStruct);

}

static void MX_GPIO_Init(void)
{
  LL_GPIO_InitTypeDef GPIO_InitStruct = {0};

  /* GPIO Ports Clock Enable */
  LL_AHB2_GRP1_EnableClock(LL_AHB2_GRP1_PERIPH_GPIOC);
  LL_AHB2_GRP1_EnableClock(LL_AHB2_GRP1_PERIPH_GPIOF);
  LL_AHB2_GRP1_EnableClock(LL_AHB2_GRP1_PERIPH_GPIOA);
  LL_AHB2_GRP1_EnableClock(LL_AHB2_GRP1_PERIPH_GPIOB);

  /**/
  LL_GPIO_ResetOutputPin(PC13_LED0_GPIO_Port, PC13_LED0_Pin);

  /**/
  LL_GPIO_ResetOutputPin(GPIOA, LL_GPIO_PIN_15);

  /**/
  LL_GPIO_ResetOutputPin(GPIOB, LL_GPIO_PIN_9);

  /**/
  GPIO_InitStruct.Pin = PC13_LED0_Pin;
  GPIO_InitStruct.Mode = LL_GPIO_MODE_OUTPUT;
  GPIO_InitStruct.Speed = LL_GPIO_SPEED_FREQ_LOW;
  GPIO_InitStruct.OutputType = LL_GPIO_OUTPUT_PUSHPULL;
  GPIO_InitStruct.Pull = LL_GPIO_PULL_NO;
  LL_GPIO_Init(PC13_LED0_GPIO_Port, &GPIO_InitStruct);

  /**/
  GPIO_InitStruct.Pin = LL_GPIO_PIN_15;
  GPIO_InitStruct.Mode = LL_GPIO_MODE_OUTPUT;
  GPIO_InitStruct.Speed = LL_GPIO_SPEED_FREQ_LOW;
  GPIO_InitStruct.OutputType = LL_GPIO_OUTPUT_PUSHPULL;
  GPIO_InitStruct.Pull = LL_GPIO_PULL_NO;
  LL_GPIO_Init(GPIOA, &GPIO_InitStruct);

  /**/
  GPIO_InitStruct.Pin = PC10_KEY0_Pin;
  GPIO_InitStruct.Mode = LL_GPIO_MODE_INPUT;
  GPIO_InitStruct.Pull = LL_GPIO_PULL_UP;
  LL_GPIO_Init(PC10_KEY0_GPIO_Port, &GPIO_InitStruct);

  /**/
  GPIO_InitStruct.Pin = LL_GPIO_PIN_9;
  GPIO_InitStruct.Mode = LL_GPIO_MODE_OUTPUT;
  GPIO_InitStruct.Speed = LL_GPIO_SPEED_FREQ_LOW;
  GPIO_InitStruct.OutputType = LL_GPIO_OUTPUT_PUSHPULL;
  GPIO_InitStruct.Pull = LL_GPIO_PULL_NO;
  LL_GPIO_Init(GPIOB, &GPIO_InitStruct);

}

/* USER CODE BEGIN 4 */
void bootinfo(void)
{
#define		DEF_CDC_USB_DELAY	50
	char chMSG[DEF_MAX_MSG_LENGTH];
	register uint32_t size_string=0, read_info = 0, read_info2 = 0;
	const size_t FLASH_SZ = FLASH_SIZE;// (*((uint16_t*)FLASH_SIZE_DATA_REGISTER)) << 10;
	const size_t FLASH_PAGES = FLASH_PAGE_NB;//FLASH_SZ >> 11;
	uint32_t 	u32_StartTick = 0, u32_CalcTemp = 0;

	  snprintf(chMSG, DEF_MAX_MSG_LENGTH,
			  "\n\r\n\rStart sequence - Boot completed!\n\r\n\r");
	  CDC_Transmit_FS(chMSG, strlen(chMSG));
	  HAL_Delay(DEF_CDC_USB_DELAY);

	  snprintf(chMSG, DEF_MAX_MSG_LENGTH,
			  "\n\r\n\r === SMT32G431CB Schwartz pill USB DEMO - [LDSB Tech - 2023] === \n\r\n\r");
	  CDC_Transmit_FS(chMSG, strlen(chMSG));
	  HAL_Delay(DEF_CDC_USB_DELAY);

	  snprintf(chMSG, DEF_MAX_MSG_LENGTH,
			  "sizeof (char):%2i, (short)%2i, (int):%2i, (long):%2i, (double): %2i\n\r\n\r",
			  sizeof(char),
			  sizeof(short),
			  sizeof(int),
			  sizeof(long),
			  sizeof(double));
	  CDC_Transmit_FS(chMSG, strlen(chMSG));
	  HAL_Delay(DEF_CDC_USB_DELAY);

		/* Display Device ID in string format */
	  snprintf(chMSG, DEF_MAX_MSG_LENGTH,
			  "Device ID = 0x%lX\n\r", LL_DBGMCU_GetDeviceID());
	  CDC_Transmit_FS(chMSG, strlen(chMSG));
	  HAL_Delay(DEF_CDC_USB_DELAY);

		/* Display Revision ID in string format */
	  snprintf(chMSG, DEF_MAX_MSG_LENGTH,
			  "Revision ID = 0x%lX\n\r", LL_DBGMCU_GetRevisionID());
	  CDC_Transmit_FS(chMSG, strlen(chMSG));
	  HAL_Delay(DEF_CDC_USB_DELAY);

		/* Display  X and Y coordinates on the wafer expressed in BCD format */
	  snprintf(chMSG, DEF_MAX_MSG_LENGTH,
			  "X and Y coordinates = 0x%lX\n\r", LL_GetUID_Word0());
	  CDC_Transmit_FS(chMSG, strlen(chMSG));
	  HAL_Delay(DEF_CDC_USB_DELAY);

		/* Display Waver number and lot number in string format */
		read_info = LL_GetUID_Word1();
		read_info2 = LL_GetUID_Word2();
		snprintf(chMSG, DEF_MAX_MSG_LENGTH,
				"Wafer NB = 0x%X\n\r", (uint8_t)read_info);
		CDC_Transmit_FS(chMSG, strlen(chMSG));
		HAL_Delay(DEF_CDC_USB_DELAY);

		size_string = snprintf(chMSG, DEF_MAX_MSG_LENGTH,
				"Lot NB = 0x%lX", read_info2);
		CDC_Transmit_FS(chMSG, strlen(chMSG));
		HAL_Delay(DEF_CDC_USB_DELAY);

		snprintf(chMSG, DEF_MAX_MSG_LENGTH,
				"%lX\n\r", (read_info >> 8));
		CDC_Transmit_FS(chMSG, strlen(chMSG));
		HAL_Delay(DEF_CDC_USB_DELAY);

		snprintf(chMSG, DEF_MAX_MSG_LENGTH,
				"Flash Size:%u Bytes (Last Addr: 0x%X)\n\r", FLASH_SZ, FLASH_SZ-1);
		CDC_Transmit_FS(chMSG, strlen(chMSG));
		HAL_Delay(DEF_CDC_USB_DELAY);

		snprintf(chMSG, DEF_MAX_MSG_LENGTH,
				"Flash Pages:%u\n\r", FLASH_PAGES);
		CDC_Transmit_FS(chMSG, strlen(chMSG));
		HAL_Delay(DEF_CDC_USB_DELAY);

		snprintf(chMSG, DEF_MAX_MSG_LENGTH,
				"\n\r=======================================\n\r");
		CDC_Transmit_FS(chMSG, strlen(chMSG));
		HAL_Delay(DEF_CDC_USB_DELAY);
		//*********************************************************************
		// Realiza testes de velocidade da CPU
		//*********************************************************************
		volatile float f_Temp = 0.001f;
		u32_StartTick = HAL_GetTick();
		for (uint32_t u32cntr = 0; u32cntr < 1000000; u32cntr++)
		{
			f_Temp = f_Temp * 0.002f;
		}
		u32_CalcTemp = (uint32_t)(1000000*(HAL_GetTick() - u32_StartTick));
		snprintf(chMSG, DEF_MAX_MSG_LENGTH,
				"1mi float multiplications: %lu ns\n\r", u32_CalcTemp);
		CDC_Transmit_FS(chMSG, strlen(chMSG));
		HAL_Delay(DEF_CDC_USB_DELAY);

		snprintf(chMSG, DEF_MAX_MSG_LENGTH,
				"Single float multiplication: %lu ns\n\r", u32_CalcTemp/(1000000));
		CDC_Transmit_FS(chMSG, strlen(chMSG));
		HAL_Delay(DEF_CDC_USB_DELAY);

		//*********************************************************************
		u32_StartTick = HAL_GetTick();
		for (uint32_t u32cntr = 0; u32cntr < 1000000; u32cntr++)
		{
			f_Temp = f_Temp / 0.9998f;
		}
		u32_CalcTemp = (uint32_t)(1000000*(HAL_GetTick() - u32_StartTick));
		snprintf(chMSG, DEF_MAX_MSG_LENGTH,
				"1mi float divisions: %lu ns\n\r", u32_CalcTemp);
		CDC_Transmit_FS(chMSG, strlen(chMSG));
		HAL_Delay(DEF_CDC_USB_DELAY);

		snprintf(chMSG, DEF_MAX_MSG_LENGTH,
				"Single float division: %lu ns\n\r", u32_CalcTemp/(1000000));
		CDC_Transmit_FS(chMSG, strlen(chMSG));
		HAL_Delay(DEF_CDC_USB_DELAY);

		//*********************************************************************
		volatile int32_t i32_Temp = 2;
		u32_StartTick = HAL_GetTick();
		for (uint32_t u32cntr = 0; u32cntr < 1000000; u32cntr++)
		{
			i32_Temp = i32_Temp*2;
		}
		u32_CalcTemp = (uint32_t)(1000000*(HAL_GetTick() - u32_StartTick));
		snprintf(chMSG, DEF_MAX_MSG_LENGTH,
				"1mi int32 multiplications: %lu ns\n\r", u32_CalcTemp);
		CDC_Transmit_FS(chMSG, strlen(chMSG));
		HAL_Delay(DEF_CDC_USB_DELAY);

		snprintf(chMSG, DEF_MAX_MSG_LENGTH,
				"Single int32 multiplication: %lu ns\n\r", u32_CalcTemp/(1000000));
		CDC_Transmit_FS(chMSG, strlen(chMSG));
		HAL_Delay(DEF_CDC_USB_DELAY);
		//*********************************************************************
		i32_Temp = 1<<31;
		u32_StartTick = HAL_GetTick();
		for (uint32_t u32cntr = 0; u32cntr < 1000000; u32cntr++)
		{
			i32_Temp = i32_Temp/3;
			if (i32_Temp == 0) i32_Temp = 1<<31;		// Evita o valor zero
		}
		u32_CalcTemp = (uint32_t)(1000000*(HAL_GetTick() - u32_StartTick));
		snprintf(chMSG, DEF_MAX_MSG_LENGTH,
				"1mi int32 divisions(est.): %lu ns\n\r", u32_CalcTemp);
		CDC_Transmit_FS(chMSG, strlen(chMSG));
		HAL_Delay(DEF_CDC_USB_DELAY);

		snprintf(chMSG, DEF_MAX_MSG_LENGTH,
				"Single int32 division(est.): %lu ns\n\r", u32_CalcTemp/(1000000));
		CDC_Transmit_FS(chMSG, strlen(chMSG));
		HAL_Delay(DEF_CDC_USB_DELAY);

		snprintf(chMSG, DEF_MAX_MSG_LENGTH,
				"\n\r=======================================\n\r");
		CDC_Transmit_FS(chMSG, strlen(chMSG));
		HAL_Delay(DEF_CDC_USB_DELAY);

}
/* USER CODE END 4 */

void Error_Handler(void)
{
  __disable_irq();
  while (1)
  {
  }
}
